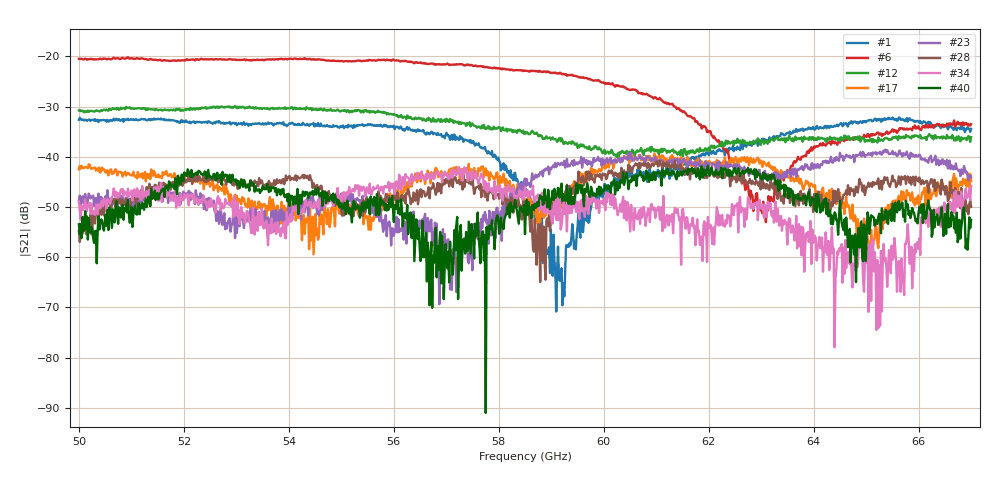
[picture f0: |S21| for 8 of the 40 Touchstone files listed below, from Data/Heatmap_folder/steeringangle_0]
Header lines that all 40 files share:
!Created with skrf (http://scikit-rf.org).
# GHz S RI R 50.0
!freq ReS11 ImS11 ReS21 ImS21 ReS12 ImS12 ReS22 ImS22
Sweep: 50 GHz to 67 GHz
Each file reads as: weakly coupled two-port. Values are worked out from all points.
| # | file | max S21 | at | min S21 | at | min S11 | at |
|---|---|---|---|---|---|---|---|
| 1 | az=0_el=0.s2p | -32.17 dB | 65.62 GHz | -70.8 dB | 59.09 GHz | -38.6 dB | 59.59 GHz |
| 2 | az=1_el=0.s2p | -26.47 dB | 50.88 GHz | -45.7 dB | 61.71 GHz | -38.7 dB | 62.16 GHz |
| 3 | az=2_el=0.s2p | -22.64 dB | 50.92 GHz | -46.2 dB | 62.78 GHz | -39.2 dB | 59.59 GHz |
| 4 | az=3_el=0.s2p | -20.60 dB | 50.92 GHz | -74.2 dB | 63.16 GHz | -40.7 dB | 59.59 GHz |
| 5 | az=4_el=0.s2p | -19.85 dB | 50.92 GHz | -68.3 dB | 63.33 GHz | -41.9 dB | 59.59 GHz |
| 6 | az=5_el=0.s2p | -20.19 dB | 50.94 GHz | -53.0 dB | 63.09 GHz | -41.0 dB | 59.59 GHz |
| 7 | az=6_el=0.s2p | -21.76 dB | 54.1 GHz | -40.7 dB | 62.58 GHz | -40.6 dB | 59.59 GHz |
| 8 | az=7_el=0.s2p | -24.12 dB | 51.12 GHz | -37.7 dB | 61.87 GHz | -39.6 dB | 59.59 GHz |
| 9 | az=8_el=0.s2p | -26.88 dB | 52.5 GHz | -43.0 dB | 60.8 GHz | -41.7 dB | 59.59 GHz |
| 10 | az=9_el=0.s2p | -28.69 dB | 51.89 GHz | -66.1 dB | 61.03 GHz | -47.3 dB | 59.59 GHz |
| 11 | az=10_el=0.s2p | -28.93 dB | 54.05 GHz | -45.0 dB | 61.14 GHz | -42.9 dB | 59.59 GHz |
| 12 | az=11_el=0.s2p | -29.89 dB | 52.98 GHz | -40.1 dB | 60.25 GHz | -42.8 dB | 59.59 GHz |
| 13 | az=12_el=0.s2p | -32.54 dB | 50.7 GHz | -46.4 dB | 58.55 GHz | -44.0 dB | 59.59 GHz |
| 14 | az=13_el=0.s2p | -33.62 dB | 63.63 GHz | -47.4 dB | 57.43 GHz | -45.9 dB | 59.59 GHz |
| 15 | az=15_el=0.s2p | -35.08 dB | 52.72 GHz | -46.5 dB | 57.75 GHz | -51.4 dB | 59.59 GHz |
| 16 | az=16_el=0.s2p | -34.43 dB | 61.78 GHz | -80.7 dB | 56.61 GHz | -46.1 dB | 59.59 GHz |
| 17 | az=17_el=0.s2p | -39.36 dB | 60.97 GHz | -64.9 dB | 65.08 GHz | -49.1 dB | 59.59 GHz |
| 18 | az=18_el=0.s2p | -37.57 dB | 66.81 GHz | -71.1 dB | 60.44 GHz | -47.8 dB | 59.59 GHz |
| 19 | az=19_el=0.s2p | -36.79 dB | 61.53 GHz | -53.9 dB | 50 GHz | -53.9 dB | 59.59 GHz |
| 20 | az=20_el=0.s2p | -36.03 dB | 61.27 GHz | -55.0 dB | 50.07 GHz | -50.3 dB | 59.59 GHz |
| 21 | az=21_el=0.s2p | -38.37 dB | 60.49 GHz | -71.2 dB | 56.95 GHz | -51.6 dB | 59.59 GHz |
| 22 | az=22_el=0.s2p | -37.48 dB | 66.15 GHz | -78.7 dB | 57.99 GHz | -48.6 dB | 59.59 GHz |
| 23 | az=23_el=0.s2p | -38.58 dB | 65.37 GHz | -69.4 dB | 56.87 GHz | -50.7 dB | 59.59 GHz |
| 24 | az=24_el=0.s2p | -39.10 dB | 60.51 GHz | -77.1 dB | 56.51 GHz | -52.3 dB | 59.59 GHz |
| 25 | az=25_el=0.s2p | -39.89 dB | 59.81 GHz | -70.9 dB | 56.38 GHz | -46.8 dB | 59.59 GHz |
| 26 | az=26_el=0.s2p | -40.39 dB | 63.86 GHz | -59.6 dB | 56.07 GHz | -50.8 dB | 59.59 GHz |
| 27 | az=27_el=0.s2p | -41.27 dB | 61.81 GHz | -63.2 dB | 50.46 GHz | -46.4 dB | 59.59 GHz |
| 28 | az=28_el=0.s2p | -40.78 dB | 61.07 GHz | -64.9 dB | 58.79 GHz | -45.2 dB | 59.59 GHz |
| 29 | az=29_el=0.s2p | -40.03 dB | 59.5 GHz | -59.3 dB | 66.92 GHz | -43.2 dB | 59.59 GHz |
| 30 | az=30_el=0.s2p | -40.18 dB | 58.94 GHz | -81.2 dB | 65.57 GHz | -44.1 dB | 59.59 GHz |
| 31 | az=31_el=0.s2p | -41.43 dB | 58.59 GHz | -58.0 dB | 50.32 GHz | -43.6 dB | 59.59 GHz |
| 32 | az=32_el=0.s2p | -41.99 dB | 53.94 GHz | -74.6 dB | 66.83 GHz | -43.6 dB | 62.56 GHz |
| 33 | az=33_el=0.s2p | -43.16 dB | 52.24 GHz | -79.4 dB | 66.69 GHz | -44.8 dB | 62.56 GHz |
| 34 | az=34_el=0.s2p | -42.06 dB | 57.24 GHz | -77.9 dB | 64.4 GHz | -42.1 dB | 62.56 GHz |
| 35 | az=35_el=0.s2p | -42.33 dB | 54.57 GHz | -85.2 dB | 65.66 GHz | -45.7 dB | 62.56 GHz |
| 36 | az=36_el=0.s2p | -40.78 dB | 62.39 GHz | -69.7 dB | 65.88 GHz | -44.1 dB | 62.56 GHz |
| 37 | az=37_el=0.s2p | -39.18 dB | 61.58 GHz | -71.2 dB | 58.82 GHz | -44.9 dB | 62.56 GHz |
| 38 | az=38_el=0.s2p | -40.69 dB | 60.95 GHz | -78.3 dB | 58.67 GHz | -44.4 dB | 62.56 GHz |
| 39 | az=39_el=0.s2p | -42.98 dB | 55.92 GHz | -66.9 dB | 58.76 GHz | -44.2 dB | 62.56 GHz |
| 40 | az=40_el=0.s2p | -41.81 dB | 61.98 GHz | -91.0 dB | 57.75 GHz | -53.7 dB | 62.56 GHz |
